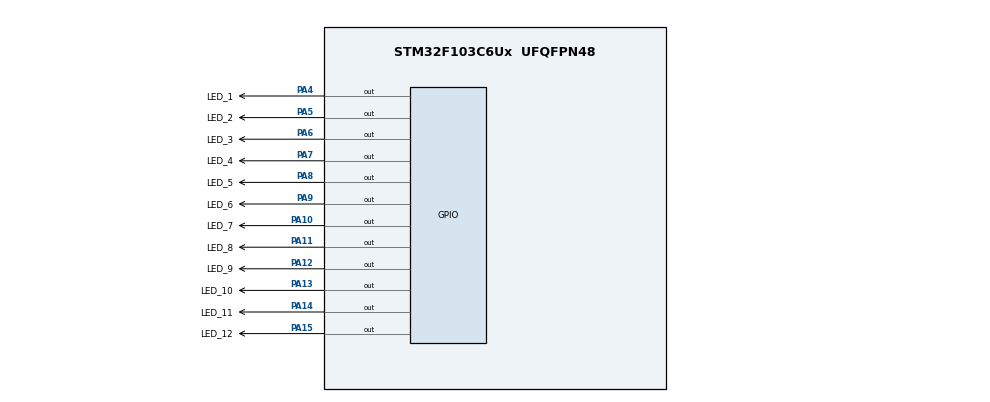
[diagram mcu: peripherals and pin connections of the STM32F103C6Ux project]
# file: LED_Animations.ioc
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Mcu.Family=STM32F1
Mcu.Name=STM32F103C6Ux
Mcu.Package=UFQFPN48
NVIC.PriorityGroup=NVIC_PRIORITYGROUP_4
PA10.GPIO_Label=LED_7
PA10.Signal=GPIO_Output
PA11.GPIO_Label=LED_8
PA11.Signal=GPIO_Output
PA12.GPIO_Label=LED_9
PA12.Signal=GPIO_Output
PA13.GPIO_Label=LED_10
PA13.Signal=GPIO_Output
PA14.GPIO_Label=LED_11
PA14.Signal=GPIO_Output
PA15.GPIO_Label=LED_12
PA15.Signal=GPIO_Output
PA4.GPIO_Label=LED_1
PA4.Signal=GPIO_Output
PA5.GPIO_Label=LED_2
PA5.Signal=GPIO_Output
PA6.GPIO_Label=LED_3
PA6.Signal=GPIO_Output
PA7.GPIO_Label=LED_4
PA7.Signal=GPIO_Output
PA8.GPIO_Label=LED_5
PA8.Signal=GPIO_Output
PA9.GPIO_Label=LED_6
PA9.Signal=GPIO_Output
ProjectManager.HeapSize=0x200
ProjectManager.StackSize=0x400
ProjectManager.TargetToolchain=STM32CubeIDE
RCC.APB1Freq_Value=8000000
RCC.APB2Freq_Value=8000000
VP_SYS_VS_ND.Mode=No_Debug
board=custom

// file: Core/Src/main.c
/* USER CODE BEGIN Header */
/**
  ******************************************************************************
  * @file           : main.c
  * @brief          : Main program body
  ******************************************************************************
  * @attention
  *
  * <h2><center>&copy; Copyright (c) 2023 STMicroelectronics.
  * All rights reserved.</center></h2>
  *
  * This software component is licensed by ST under BSD 3-Clause license,
  * the "License"; You may not use this file except in compliance with the
  * License. You may obtain a copy of the License at:
  *                        opensource.org/licenses/BSD-3-Clause
  *
  ******************************************************************************
  */
/* USER CODE END Header */
#include "main.h"

void SystemClock_Config(void);
static void MX_GPIO_Init(void);

/* USER CODE BEGIN 0 */
void clearAllClock ()
{
	 HAL_GPIO_WritePin(GPIOA, LED_1_Pin|LED_2_Pin|LED_3_Pin|LED_4_Pin|
			  	  	  	  	  LED_5_Pin|LED_6_Pin|LED_7_Pin|LED_8_Pin|
							  LED_9_Pin|LED_10_Pin|LED_11_Pin|LED_12_Pin, SET);
}

void setNumberOnClock(int num)
{
	  switch (num)
	  {
		case 0:
			HAL_GPIO_WritePin(LED_2_GPIO_Port, LED_2_Pin, RESET);
			break;
		case 1:
			HAL_GPIO_WritePin(LED_3_GPIO_Port, LED_3_Pin, RESET);
			break;
		case 2:
			HAL_GPIO_WritePin(LED_4_GPIO_Port, LED_4_Pin, RESET);
			break;
		case 3:
			HAL_GPIO_WritePin(LED_5_GPIO_Port, LED_5_Pin, RESET);
			break;
		case 4:
			HAL_GPIO_WritePin(LED_6_GPIO_Port, LED_6_Pin, RESET);
			break;
		case 5:
			HAL_GPIO_WritePin(LED_7_GPIO_Port, LED_7_Pin, RESET);
			break;
		case 6:
			HAL_GPIO_WritePin(LED_8_GPIO_Port, LED_8_Pin, RESET);
			break;
		case 7:
			HAL_GPIO_WritePin(LED_9_GPIO_Port, LED_9_Pin, RESET);
			break;
		case 8:
			HAL_GPIO_WritePin(LED_10_GPIO_Port, LED_10_Pin, RESET);
			break;
		case 9:
			HAL_GPIO_WritePin(LED_11_GPIO_Port, LED_11_Pin, RESET);
			break;
		case 10:
			HAL_GPIO_WritePin(LED_12_GPIO_Port, LED_12_Pin, RESET);
			break;
		case 11:
			HAL_GPIO_WritePin(LED_1_GPIO_Port, LED_1_Pin, RESET);
			break;
		case 12:
			HAL_GPIO_WritePin(LED_2_GPIO_Port, LED_2_Pin, RESET);
			break;
		default:
			break;
	  }
}

/* USER CODE END 0 */

int main(void)
{

  /* MCU Configuration--------------------------------------------------------*/

  /* Reset of all peripherals, Initializes the Flash interface and the Systick. */
  HAL_Init();

  /* Configure the system clock */
  SystemClock_Config();

  /* Initialize all configured peripherals */
  MX_GPIO_Init();

  /* Infinite loop */
  /* USER CODE BEGIN WHILE */

  int second = 30;
  int minute = 59;
  int hour = 1;      //Time at start is 01:59:30

  while (1)
  {
	//Turn off all Leds to start.
	clearAllClock();

	// 1 minute = 60 seconds, 1 hour = 60 minutes

	second++;

	if (second >= 60)
	{
		minute++;
		second = 0;

		if (minute >= 60)
		{
			hour++;
			minute = 0;
			if (hour >= 12) hour = 0;  //start a new cycle
		}
	}

	setNumberOnClock(hour);
	setNumberOnClock(minute / 5); //The distance between 2 LEDs corresponds to 5 minutes on the clock.
	setNumberOnClock(second / 5); //The distance between 2 LEDs corresponds to 5 seconds on the clock.

	HAL_Delay(500);  //Delay 0.5s for faster testing

    /* USER CODE END WHILE */

  }
}

void SystemClock_Config(void)
{
  RCC_OscInitTypeDef RCC_OscInitStruct = {0};
  RCC_ClkInitTypeDef RCC_ClkInitStruct = {0};

  /** Initializes the RCC Oscillators according to the specified parameters
  * in the RCC_OscInitTypeDef structure.
  */
  RCC_OscInitStruct.OscillatorType = RCC_OSCILLATORTYPE_HSI;
  RCC_OscInitStruct.HSIState = RCC_HSI_ON;
  RCC_OscInitStruct.HSICalibrationValue = RCC_HSICALIBRATION_DEFAULT;
  RCC_OscInitStruct.PLL.PLLState = RCC_PLL_NONE;
  if (HAL_RCC_OscConfig(&RCC_OscInitStruct) != HAL_OK)
  {
    Error_Handler();
  }
  /** Initializes the CPU, AHB and APB buses clocks
  */
  RCC_ClkInitStruct.ClockType = RCC_CLOCKTYPE_HCLK|RCC_CLOCKTYPE_SYSCLK
                              |RCC_CLOCKTYPE_PCLK1|RCC_CLOCKTYPE_PCLK2;
  RCC_ClkInitStruct.SYSCLKSource = RCC_SYSCLKSOURCE_HSI;
  RCC_ClkInitStruct.AHBCLKDivider = RCC_SYSCLK_DIV1;
  RCC_ClkInitStruct.APB1CLKDivider = RCC_HCLK_DIV1;
  RCC_ClkInitStruct.APB2CLKDivider = RCC_HCLK_DIV1;

  if (HAL_RCC_ClockConfig(&RCC_ClkInitStruct, FLASH_LATENCY_0) != HAL_OK)
  {
    Error_Handler();
  }
}

static void MX_GPIO_Init(void)
{
  GPIO_InitTypeDef GPIO_InitStruct = {0};

  /* GPIO Ports Clock Enable */
  __HAL_RCC_GPIOA_CLK_ENABLE();

  /*Configure GPIO pin Output Level */
  HAL_GPIO_WritePin(GPIOA, LED_1_Pin|LED_2_Pin|LED_3_Pin|LED_4_Pin
                          |LED_5_Pin|LED_6_Pin|LED_7_Pin|LED_8_Pin
                          |LED_9_Pin|LED_10_Pin|LED_11_Pin|LED_12_Pin, GPIO_PIN_RESET);

  /*Configure GPIO pins : LED_1_Pin LED_2_Pin LED_3_Pin LED_4_Pin
                           LED_5_Pin LED_6_Pin LED_7_Pin LED_8_Pin
                           LED_9_Pin LED_10_Pin LED_11_Pin LED_12_Pin */
  GPIO_InitStruct.Pin = LED_1_Pin|LED_2_Pin|LED_3_Pin|LED_4_Pin
                          |LED_5_Pin|LED_6_Pin|LED_7_Pin|LED_8_Pin
                          |LED_9_Pin|LED_10_Pin|LED_11_Pin|LED_12_Pin;
  GPIO_InitStruct.Mode = GPIO_MODE_OUTPUT_PP;
  GPIO_InitStruct.Pull = GPIO_NOPULL;
  GPIO_InitStruct.Speed = GPIO_SPEED_FREQ_LOW;
  HAL_GPIO_Init(GPIOA, &GPIO_InitStruct);

}

void Error_Handler(void)
{
  __disable_irq();
  while (1)
  {
  }
}

/************************ (C) COPYRIGHT STMicroelectronics *****END OF FILE****/
